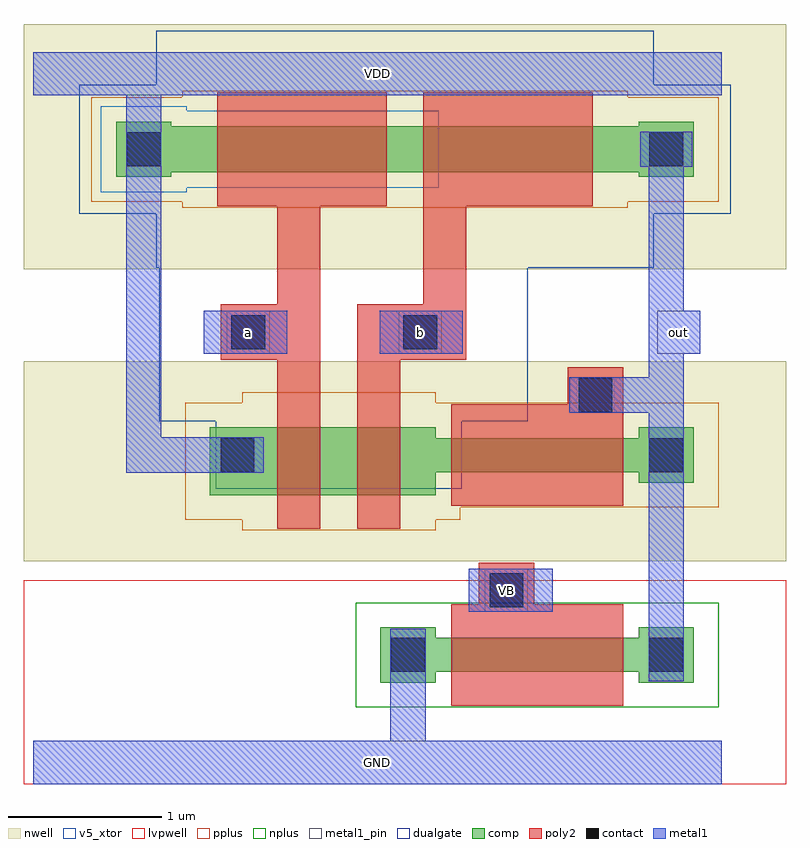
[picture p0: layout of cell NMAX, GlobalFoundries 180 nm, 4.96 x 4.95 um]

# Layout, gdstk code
import gdstk
lib = gdstk.Library(unit=1e-6, precision=1e-09)
def R(c, l, rs):  # rectangles x0, y0, x1, y1
    for r in rs: c.add(gdstk.rectangle(r[:2], r[2:], *l))
nwell = (21, 0)
comp = (22, 0)
poly2 = (30, 0)
pplus = (31, 0)
nplus = (32, 0)
contact = (33, 0)
metal1 = (34, 0)
metal1_pin = (34, 10)
dualgate = (55, 0)
v5_xtor = (112, 1)
lvpwell = (204, 0)

nmax = lib.new_cell('NMAX')
R(nmax, nwell, [(-0.06,1.31,4.9,2.61), (-0.06,3.21,4.9,4.805)])
R(nmax, comp, [(2.26,0.52,2.62,0.59), (3.94,0.52,4.3,0.59), (2.26,0.59,4.3,0.81), (2.26,0.81,2.62,0.88), (3.94,0.81,4.3,0.88), (1.15,1.74,2.62,1.89), (3.94,1.82,4.3,1.89), (1.15,1.89,4.3,2.11), (1.15,2.11,2.62,2.18), (3.94,2.11,4.3,2.18), (0.54,3.81,0.9,3.84), (3.94,3.81,4.3,3.84), (0.54,3.84,4.3,4.14), (0.54,4.14,0.9,4.17), (3.94,4.14,4.3,4.17)])
R(nmax, poly2, [(2.72,0.37,3.84,1.03), (2.9,1.03,3.26,1.3), (1.59,1.52,1.87,2.62), (2.11,1.52,2.39,2.62), (2.72,1.67,3.84,2.33), (3.48,2.33,3.84,2.57), (1.22,2.62,1.87,2.98), (2.11,2.62,2.82,2.98), (1.59,2.98,1.87,3.62), (2.54,2.98,2.82,3.62), (1.2,3.62,2.3,4.36), (2.54,3.62,3.64,4.36)])
R(nmax, pplus, [(1.36,1.51,2.62,1.58), (0.99,1.58,2.78,1.66), (0.99,1.66,4.46,2.34), (1.36,2.34,2.62,2.41), (0.97,3.61,3.87,3.65), (0.38,3.65,4.46,4.33), (0.97,4.33,3.87,4.37)])
R(nmax, nplus, [(2.1,0.36,4.46,1.04)])
R(nmax, contact, [(2.33,0.59,2.55,0.81), (4.01,0.59,4.23,0.81), (2.97,1.01,3.19,1.23), (1.22,1.89,1.44,2.11), (4.01,1.89,4.23,2.11), (3.55,2.28,3.77,2.5), (1.29,2.69,1.51,2.91), (2.41,2.69,2.63,2.91), (0.61,3.88,0.83,4.1), (4.01,3.88,4.23,4.1)])
R(nmax, metal1, [(0,-0.14,4.48,0.14), (2.325,0.14,2.555,0.87), (4.005,0.53,4.235,2.275), (2.835,0.98,3.38,1.26), (0.605,1.885,1.5,2.115), (0.605,2.115,0.835,4.34), (3.49,2.275,4.235,2.505), (4.005,2.505,4.235,2.66), (1.11,2.66,1.655,2.94), (2.255,2.66,2.795,2.94), (4.005,2.66,4.34,2.94), (4.005,2.94,4.235,3.875), (3.95,3.875,4.29,4.105), (0,4.34,4.48,4.62)])
R(nmax, metal1_pin, [(0,-0.14,4.48,0.14), (2.94,0.98,3.22,1.26), (1.26,2.66,1.54,2.94), (2.38,2.66,2.66,2.94), (4.06,2.66,4.34,2.94), (0,4.34,4.48,4.62)])
R(nmax, dualgate, [(1.19,1.78,2.79,2.22), (0.82,2.22,3.22,3.22), (0.8,3.22,4.04,3.57), (0.3,3.57,4.54,4.41), (0.8,4.41,4.04,4.76)])
R(nmax, v5_xtor, [(0.44,3.71,1,3.74), (0.44,3.74,2.64,4.24), (0.44,4.24,1,4.27)])
R(nmax, lvpwell, [(-0.06,-0.14,4.9,1.185)])
nmax.add(gdstk.Label('a', (1.4,2.8), layer=34, texttype=10))
nmax.add(gdstk.Label('b', (2.52,2.8), layer=34, texttype=10))
nmax.add(gdstk.Label('out', (4.2,2.8), layer=34, texttype=10))
nmax.add(gdstk.Label('VB', (3.08,1.12), layer=34, texttype=10))
nmax.add(gdstk.Label('VDD', (2.24,4.48), layer=34, texttype=10))
nmax.add(gdstk.Label('GND', (2.24,0), layer=34, texttype=10))

lib.write_gds('NMAX.gds')
